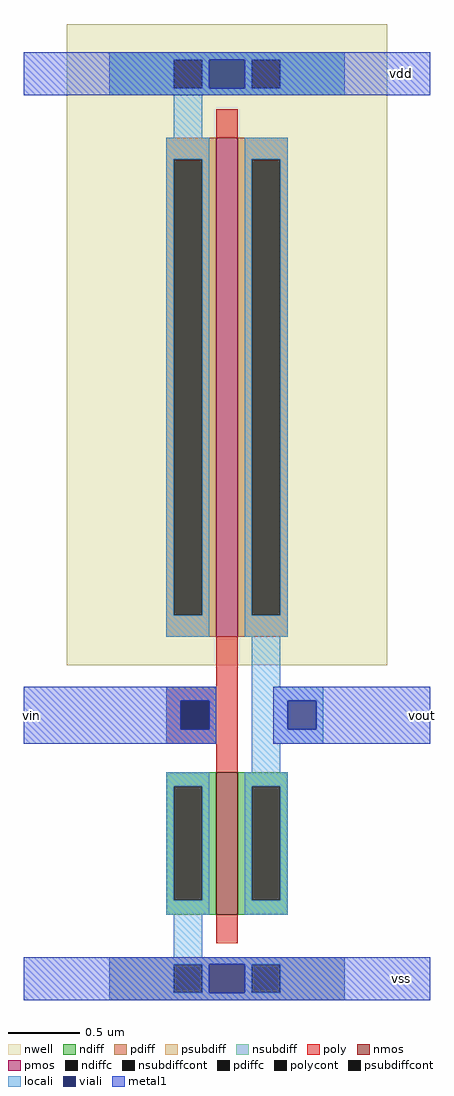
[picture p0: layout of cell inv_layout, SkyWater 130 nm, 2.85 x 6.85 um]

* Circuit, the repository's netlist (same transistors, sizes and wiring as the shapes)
* SPICE3 file created from inv_layout.ext - technology: sky130A

X0 vout vin vss vss sky130_fd_pr__nfet_01v8 ad=0.35 pd=2.7 as=0.35 ps=2.7 w=1 l=0.15
X1 vout vin vdd vdd sky130_fd_pr__pfet_01v8 ad=1.225 pd=7.7 as=1.225 ps=7.7 w=3.5 l=0.15

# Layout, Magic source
magic
tech sky130A
<< nwell >>
rect -90 -95 135 355
<< nmos >>
rect 15 -270 30 -170
<< pmos >>
rect 15 -75 30 275
<< ndiff >>
rect -20 -180 15 -170
rect -20 -260 -15 -180
rect 5 -260 15 -180
rect -20 -270 15 -260
rect 30 -180 65 -170
rect 30 -260 40 -180
rect 60 -260 65 -180
rect 30 -270 65 -260
<< pdiff >>
rect -20 260 15 275
rect -20 -60 -15 260
rect 5 -60 15 260
rect -20 -75 15 -60
rect 30 260 65 275
rect 30 -60 40 260
rect 60 -60 65 260
rect 30 -75 65 -60
<< ndiffc >>
rect -15 -260 5 -180
rect 40 -260 60 -180
<< pdiffc >>
rect -15 -60 5 260
rect 40 -60 60 260
<< psubdiff >>
rect -60 -305 105 -300
rect -60 -325 -15 -305
rect 5 -325 40 -305
rect 60 -325 105 -305
rect -60 -330 105 -325
<< nsubdiff >>
rect -60 330 105 335
rect -60 310 -15 330
rect 5 310 40 330
rect 60 310 105 330
rect -60 305 105 310
<< psubdiffcont >>
rect -15 -325 5 -305
rect 40 -325 60 -305
<< nsubdiffcont >>
rect -15 310 5 330
rect 40 310 60 330
<< poly >>
rect 15 275 30 295
rect 15 -110 30 -75
rect -20 -120 30 -110
rect -20 -140 -10 -120
rect 10 -140 30 -120
rect -20 -150 30 -140
rect 15 -170 30 -150
rect 15 -290 30 -270
<< polycont >>
rect -10 -140 10 -120
<< locali >>
rect -60 330 105 335
rect -60 310 -15 330
rect 5 310 10 330
rect 35 310 40 330
rect 60 310 105 330
rect -60 305 105 310
rect -15 275 5 305
rect -20 260 10 275
rect -20 -60 -15 260
rect 5 -60 10 260
rect -20 -75 10 -60
rect 35 260 65 275
rect 35 -60 40 260
rect 60 -60 65 260
rect 35 -75 65 -60
rect 40 -110 60 -75
rect -20 -120 15 -110
rect -20 -140 -10 -120
rect 10 -140 15 -120
rect -20 -150 15 -140
rect 40 -120 90 -110
rect 40 -140 65 -120
rect 85 -140 90 -120
rect 40 -150 90 -140
rect 40 -170 60 -150
rect -20 -180 10 -170
rect -20 -260 -15 -180
rect 5 -260 10 -180
rect -20 -270 10 -260
rect 35 -180 65 -170
rect 35 -260 40 -180
rect 60 -260 65 -180
rect 35 -270 65 -260
rect -15 -300 5 -270
rect -60 -305 105 -300
rect -60 -325 -15 -305
rect 5 -325 10 -305
rect 35 -325 40 -305
rect 60 -325 105 -305
rect -60 -330 105 -325
<< viali >>
rect 10 310 35 330
rect -10 -140 10 -120
rect 65 -140 85 -120
rect 10 -325 35 -305
<< metal1 >>
rect -120 330 165 335
rect -120 310 10 330
rect 35 310 165 330
rect -120 305 165 310
rect -120 -120 15 -110
rect -120 -140 -10 -120
rect 10 -140 15 -120
rect -120 -150 15 -140
rect 55 -120 165 -110
rect 55 -140 65 -120
rect 85 -140 165 -120
rect 55 -150 165 -140
rect -120 -305 165 -300
rect -120 -325 10 -305
rect 35 -325 165 -305
rect -120 -330 165 -325
<< labels >>
rlabel metal1 145 320 145 320 1 vdd
rlabel metal1 145 -315 145 -315 1 vss
rlabel metal1 155 -150 165 -110 1 vout
rlabel metal1 -120 -150 -110 -110 1 vin
<< end >>
